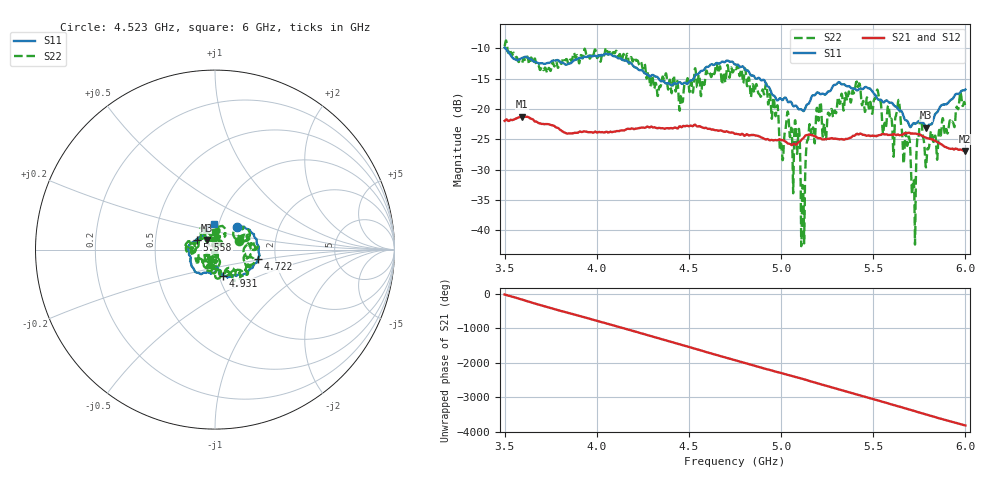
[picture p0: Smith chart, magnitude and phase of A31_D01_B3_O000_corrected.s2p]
! Created with skrf 1.9.0 (http://scikit-rf.org).
# Hz S RI R 50.0
!freq ReS11 ImS11 ReS21 ImS21 ReS12 ImS12 ReS22 ImS22
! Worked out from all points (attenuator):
!   1601 points, 3.5 GHz to 6 GHz, reference 50 ohm
!   highest |S21| = -21.25 dB at 3.592 GHz (marker M1); lowest = -26.9 dB at 5.998 GHz (marker M2)
!   lowest |S11| = -23.1 dB at 5.787 GHz (marker M3), VSWR 1.15, Z = 45.4 + j4.93 ohm
!   |S11| at or under -10 dB: 3.503 GHz to end of sweep
!   |S22| runs from -42.6 to -8.7 dB; largest |S21 - S12| = 0.0013
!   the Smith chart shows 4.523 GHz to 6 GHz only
!   S11 on the Smith chart (normalised r, x): 4.523 GHz: 1.23, +0.32; 4.722 GHz: 1.62, -0.18; 4.931 GHz: 1.04, -0.31; 5.558 GHz: 0.81, +0.09; 6 GHz: 0.95, +0.28
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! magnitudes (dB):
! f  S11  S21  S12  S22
! 3.5 GHz  -9.9  -22.0  -22.0  -9.7
! 3.592 GHz  -11.6  -21.2  -21.3  -12.5
! 3.917 GHz  -11.6  -23.8  -23.8  -11.2
! 4.334 GHz  -14.9  -23.1  -23.1  -17.3
! 4.523 GHz  -15.1  -22.8  -22.8  -17.0
! 4.722 GHz  -12.2  -23.9  -23.9  -14.7
! 4.75 GHz  -12.7  -24.1  -24.1  -13.2
! 4.931 GHz  -16.3  -25.0  -25.0  -19.2
! 5.003 GHz  -18.4  -25.1  -25.2  -26.5
! 5.088 GHz  -19.7  -25.7  -25.7  -27.4
! 5.119 GHz  -20.3  -24.9  -24.8  -32.9
! 5.145 GHz  -19.2  -24.3  -24.3  -25.0
! 5.167 GHz  -17.9  -24.3  -24.3  -24.2
! 5.416 GHz  -16.9  -24.1  -24.2  -16.3
! 5.558 GHz  -18.9  -24.2  -24.2  -23.0
! 5.584 GHz  -18.9  -24.3  -24.3  -19.6
! 5.641 GHz  -20.2  -24.3  -24.3  -18.8
! 5.719 GHz  -22.3  -24.1  -24.0  -31.6
! 5.752 GHz  -22.1  -24.2  -24.2  -22.4
! 5.787 GHz  -23.1  -24.8  -24.7  -29.3
! 5.998 GHz  -16.9  -26.9  -26.9  -19.6
! 6 GHz  -16.8  -26.9  -26.9  -20.0
